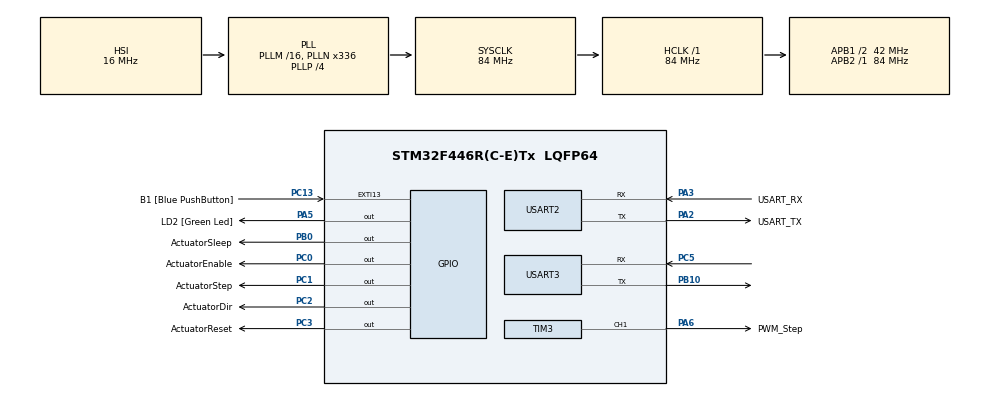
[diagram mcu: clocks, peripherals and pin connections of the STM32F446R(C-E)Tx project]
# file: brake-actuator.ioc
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Mcu.Family=STM32F4
Mcu.Name=STM32F446R(C-E)Tx
Mcu.Package=LQFP64
NVIC.PriorityGroup=NVIC_PRIORITYGROUP_0
NVIC.USART2_IRQn=true\:0\:0\:false\:false\:true\:true\:true\:true
NVIC.USART3_IRQn=true\:0\:0\:false\:false\:true\:true\:true\:true
PA13.GPIO_Label=TMS
PA13.Mode=Serial_Wire
PA13.Signal=SYS_JTMS-SWDIO
PA14.GPIO_Label=TCK
PA14.Mode=Serial_Wire
PA14.Signal=SYS_JTCK-SWCLK
PA2.GPIO_Label=USART_TX
PA2.Mode=Asynchronous
PA2.Signal=USART2_TX
PA3.GPIO_Label=USART_RX
PA3.Mode=Asynchronous
PA3.Signal=USART2_RX
PA5.GPIO_Label=LD2 [Green Led]
PA5.Signal=GPIO_Output
PA6.GPIO_Label=PWM_Step
PA6.Signal=S_TIM3_CH1
PB0.GPIO_Label=ActuatorSleep
PB0.Signal=GPIO_Output
PB10.Mode=Asynchronous
PB10.Signal=USART3_TX
PB3.GPIO_Label=SWO
PB3.Signal=SYS_JTDO-SWO
PC0.GPIO_Label=ActuatorEnable
PC0.GPIO_PuPd=GPIO_NOPULL
PC0.Signal=GPIO_Output
PC1.GPIO_Label=ActuatorStep
PC1.GPIO_PuPd=GPIO_NOPULL
PC1.Signal=GPIO_Output
PC13.GPIO_Label=B1 [Blue PushButton]
PC13.GPIO_ModeDefaultEXTI=GPIO_MODE_IT_FALLING
PC13.Signal=GPXTI13
PC14-OSC32_IN.Mode=LSE-External-Oscillator
PC14-OSC32_IN.Signal=RCC_OSC32_IN
PC15-OSC32_OUT.Mode=LSE-External-Oscillator
PC15-OSC32_OUT.Signal=RCC_OSC32_OUT
PC2.GPIO_Label=ActuatorDir
PC2.GPIO_PuPd=GPIO_NOPULL
PC2.Signal=GPIO_Output
PC3.GPIO_Label=ActuatorReset
PC3.GPIO_PuPd=GPIO_NOPULL
PC3.Signal=GPIO_Output
PC5.Mode=Asynchronous
PC5.Signal=USART3_RX
PH0-OSC_IN.Mode=HSE-External-Oscillator
PH0-OSC_IN.Signal=RCC_OSC_IN
PH1-OSC_OUT.Mode=HSE-External-Oscillator
PH1-OSC_OUT.Signal=RCC_OSC_OUT
ProjectManager.HeapSize=0x200
ProjectManager.StackSize=0x400
ProjectManager.TargetToolchain=Makefile
RCC.48MHZClocksFreq_Value=84000000
RCC.AHBFreq_Value=84000000
RCC.APB1CLKDivider=RCC_HCLK_DIV2
RCC.APB1Freq_Value=42000000
RCC.APB1TimFreq_Value=84000000
RCC.APB2Freq_Value=84000000
RCC.APB2TimFreq_Value=84000000
RCC.CortexFreq_Value=84000000
RCC.FLatency-AdvancedSettings=FLASH_LATENCY_2
RCC.HCLKFreq_Value=84000000
RCC.HSE_VALUE=8000000
RCC.HSI_VALUE=16000000
RCC.PLLN=336
RCC.PLLP=RCC_PLLP_DIV4
RCC.SYSCLKFreq_VALUE=84000000
RCC.SYSCLKSource=RCC_SYSCLKSOURCE_PLLCLK
RCC.USBFreq_Value=168000000
RCC.VCOOutputFreq_Value=336000000
SH.S_TIM3_CH1.0=TIM3_CH1,PWM Generation1 CH1
TIM3.AutoReloadPreload=TIM_AUTORELOAD_PRELOAD_ENABLE
TIM3.Channel-PWM\ Generation1\ CH1=TIM_CHANNEL_1
TIM3.Period=1999
TIM3.Prescaler=83
TIM3.Pulse-PWM\ Generation1\ CH1=0
USART2.VirtualMode=VM_ASYNC
USART3.VirtualMode=VM_ASYNC
VP_TIM3_VS_ClockSourceINT.Mode=Internal
board=NUCLEO-F446RE

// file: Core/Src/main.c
/* USER CODE BEGIN Header */
/**
  ******************************************************************************
  * @file           : main.c
  * @brief          : Main program body
  ******************************************************************************
  * @attention
  *
  * Copyright (c) 2025 STMicroelectronics.
  * All rights reserved.
  *
  * This software is licensed under terms that can be found in the LICENSE file
  * in the root directory of this software component.
  * If no LICENSE file comes with this software, it is provided AS-IS.
  *
  ******************************************************************************
  */
/* USER CODE END Header */
#include "main.h"
#include "tim.h"
#include "usart.h"
#include "gpio.h"

/* USER CODE BEGIN Includes */
#include <string.h>
#include <stdio.h>
#include <stdbool.h>
#include <math.h>
#include "brake_actuator_pid.h"
/* USER CODE END Includes */

/* USER CODE BEGIN PD */

#define HOMING_SETUP 0 // if needed, bring the actuator to the inital position, fully extended

#define BRAKING_ACTUATOR_PERIOD_MS 1000 / 200

uint8_t msg2[100] = {'\0'};

/* USER CODE END PD */

void SystemClock_Config(void);
/* USER CODE BEGIN PFP */
void HAL_UART_RxCpltCallback(UART_HandleTypeDef *huart);
/* USER CODE END PFP */

int main(void)
{

  /* MCU Configuration--------------------------------------------------------*/

  /* Reset of all peripherals, Initializes the Flash interface and the Systick. */
  HAL_Init();

  /* Configure the system clock */
  SystemClock_Config();

  /* Initialize all configured peripherals */
  MX_GPIO_Init();
  MX_USART2_UART_Init();
  MX_TIM3_Init();
  MX_USART3_UART_Init();

  /* Infinite loop */
  /* USER CODE BEGIN WHILE */

  //setting up pins of the driver
  //at startup, disable it
  HAL_GPIO_WritePin(ActuatorEnable_GPIO_Port, ActuatorEnable_Pin, MOTOR_STOP);
  HAL_GPIO_WritePin(ActuatorSleep_GPIO_Port, ActuatorSleep_Pin, GPIO_PIN_SET);
  HAL_GPIO_WritePin(ActuatorReset_GPIO_Port, ActuatorReset_Pin, GPIO_PIN_SET);

  //starting timer for pwm and set pid
  HAL_TIM_PWM_Start(&htim3, TIM_CHANNEL_1);
  // CCR should be already be set at 0 on board configuration
  brake_actuator_pid_init(0.8, 0.6, 0.0, BRAKING_ACTUATOR_PERIOD_MS / 1000.0, 5.0);

  #if HOMING_SETUP
  // --- Homing: Extend until the encoder stabilizes ---
    HAL_GPIO_WritePin(ActuatorDir_GPIO_Port, ActuatorDir_Pin, EXTEND);
    HAL_GPIO_WritePin(ActuatorEnable_GPIO_Port, ActuatorEnable_Pin, MOTOR_GO);

    int32_t last_count = __HAL_TIM_GET_COUNTER(&htim2);
    int32_t stable_count = 0;
    uint32_t stable_time = 0;

    const uint32_t CHECK_INTERVAL_MS = 20;
    const uint32_t STABLE_THRESHOLD_MS = 200;
    const int32_t DELTA_THRESHOLD = 2;

    while (stable_time < STABLE_THRESHOLD_MS) {
      HAL_Delay(CHECK_INTERVAL_MS);

      int32_t current_count = __HAL_TIM_GET_COUNTER(&htim2);
      sprintf((char*)msg, "Encoder Ticks = %ld\n\r", current_count);
      HAL_UART_Transmit(&huart2, (char*)msg, strlen(msg), 100);
      int32_t delta = abs(current_count - last_count);

      if (delta <= DELTA_THRESHOLD) {
        stable_time += CHECK_INTERVAL_MS;
      } else {
        stable_time = 0;  // Reset timer if movement detected
        last_count = current_count;
      }
    }

    // Stop motor once we assume homing position is reached
    HAL_GPIO_WritePin(ActuatorEnable_GPIO_Port, ActuatorEnable_Pin, MOTOR_STOP);

    // Define homing (zero) position
    __HAL_TIM_SET_COUNTER(&htim2, 0);
  #endif

  uint32_t previousTime = HAL_GetTick();

  while (1)
  {
    /* USER CODE END WHILE */

    /* USER CODE BEGIN 3 */
    //if actuator is enabled and i don't receive any message for a while, stop actuator
    //for safety
    if(brake_actuator_is_enabled() && (HAL_GetTick() - last_uart_msg_time) > UART_TIMEOUT_MS){
      brake_actuator_disable();
      sprintf((char *)msg2, "TIMEOUT\r\n");
      HAL_UART_Transmit(&huart2, msg2, strlen((char *)msg2), HAL_MAX_DELAY);
      //uncomment if you want to sand back an error message
      HAL_UART_Transmit(&huart3, (uint8_t*)"e\r\n", 25, HAL_MAX_DELAY);
    }

    //after some time, update both pid and speed based on the latest value available
    if((HAL_GetTick() - previousTime) > BRAKING_ACTUATOR_PERIOD_MS){
      previousTime = HAL_GetTick();
      brake_actuator_update_pid();
      brake_actuator_update_speed();
      // sprintf((char *)msg2, "[PWM] ARR=%lu CCR1=%lu\r\n", TIM3->ARR, TIM3->CCR1);
      // HAL_UART_Transmit(&huart2, msg2, strlen((char *)msg2), HAL_MAX_DELAY);
    }

  }
  /* USER CODE END 3 */
}

void SystemClock_Config(void)
{
  RCC_OscInitTypeDef RCC_OscInitStruct = {0};
  RCC_ClkInitTypeDef RCC_ClkInitStruct = {0};

  /** Configure the main internal regulator output voltage
  */
  __HAL_RCC_PWR_CLK_ENABLE();
  __HAL_PWR_VOLTAGESCALING_CONFIG(PWR_REGULATOR_VOLTAGE_SCALE3);

  /** Initializes the RCC Oscillators according to the specified parameters
  * in the RCC_OscInitTypeDef structure.
  */
  RCC_OscInitStruct.OscillatorType = RCC_OSCILLATORTYPE_HSI;
  RCC_OscInitStruct.HSIState = RCC_HSI_ON;
  RCC_OscInitStruct.HSICalibrationValue = RCC_HSICALIBRATION_DEFAULT;
  RCC_OscInitStruct.PLL.PLLState = RCC_PLL_ON;
  RCC_OscInitStruct.PLL.PLLSource = RCC_PLLSOURCE_HSI;
  RCC_OscInitStruct.PLL.PLLM = 16;
  RCC_OscInitStruct.PLL.PLLN = 336;
  RCC_OscInitStruct.PLL.PLLP = RCC_PLLP_DIV4;
  RCC_OscInitStruct.PLL.PLLQ = 2;
  RCC_OscInitStruct.PLL.PLLR = 2;
  if (HAL_RCC_OscConfig(&RCC_OscInitStruct) != HAL_OK)
  {
    Error_Handler();
  }

  /** Initializes the CPU, AHB and APB buses clocks
  */
  RCC_ClkInitStruct.ClockType = RCC_CLOCKTYPE_HCLK|RCC_CLOCKTYPE_SYSCLK
                              |RCC_CLOCKTYPE_PCLK1|RCC_CLOCKTYPE_PCLK2;
  RCC_ClkInitStruct.SYSCLKSource = RCC_SYSCLKSOURCE_PLLCLK;
  RCC_ClkInitStruct.AHBCLKDivider = RCC_SYSCLK_DIV1;
  RCC_ClkInitStruct.APB1CLKDivider = RCC_HCLK_DIV2;
  RCC_ClkInitStruct.APB2CLKDivider = RCC_HCLK_DIV1;

  if (HAL_RCC_ClockConfig(&RCC_ClkInitStruct, FLASH_LATENCY_2) != HAL_OK)
  {
    Error_Handler();
  }
}

void Error_Handler(void)
{
  __disable_irq();
  while (1)
  {
  }
}
